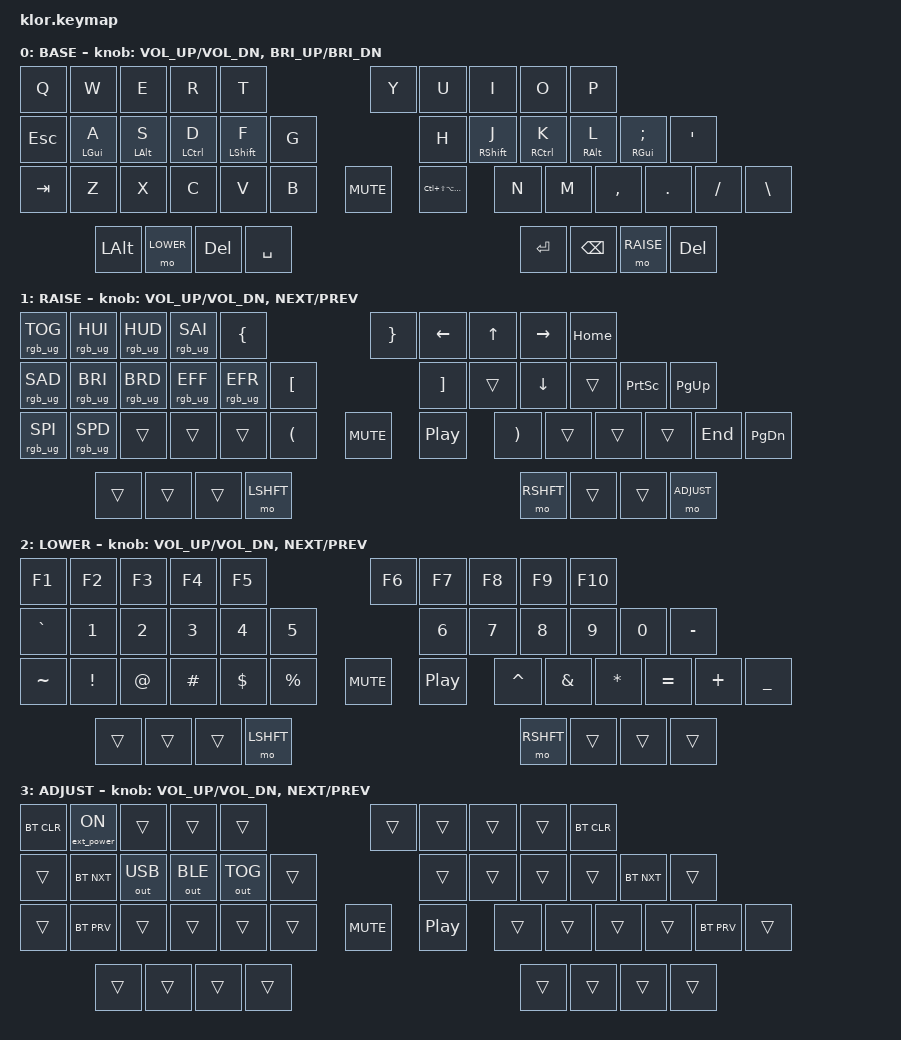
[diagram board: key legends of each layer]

//                               █         █    █            ▄▄▄▀▀▀▀▀▀▄▄▄        █▀▀▀▀▀▀▀▀▀▀█
//                               █        █     █          ▄▀            ▀▄      █          █
//                               █       █      █        ▄▀                ▀▄    █          █
//                               █      █       █        █                  █    █          █
//                               █     █        █       █                    █   █          █
//                               █    █         █       █                    █   █▄▄▄▄▄▄▄▄▄▄█
//                               █   █ █        █       █                    █   █      █
//                               █  █   █       █        █                  █    █       █
//                               █ █     █      █        ▀▄                ▄▀    █        █
//                               ██       █     █          ▀▄            ▄▀      █         █
//                               █         █    █▄▄▄▄▄▄▄▄    ▀▀▀▄▄▄▄▄▄▀▀▀        █          █
//
// ▄▄▄▄▄▄▄▄▄▄▄▄▄▄▄▄▄▄▄▄▄▄▄▄▄▄▄▄▄▄▄▄▄▄▄▄▄▄▄▄▄▄▄▄▄▄▄▄▄▄▄▄▄▄▄▄▄▄▄▄▄▄▄▄▄▄▄▄▄▄▄▄▄▄▄▄▄▄▄▄▄▄▄▄▄▄▄▄▄▄▄▄▄▄▄▄▄▄▄▄▄▄▄▄▄▄▄▄▄▄▄▄▄▄▄▄▄▄▄▄▄▄▄▄▄
       
#include <behaviors.dtsi>
#include <dt-bindings/zmk/keys.h>
#include <dt-bindings/zmk/bt.h>
#include <dt-bindings/zmk/outputs.h>
#include <dt-bindings/zmk/ext_power.h>
#include <dt-bindings/zmk/rgb.h>


#define BASE   0
#define RAISE  1
#define LOWER  2
#define ADJUST 3

// Microphone mute, sent as a hyper combo (Ctrl+Shift+Opt+Cmd+M) that
// nothing on macOS claims. ZMK cannot send a real mic mute: its HID
// report descriptor carries only the Keyboard, Consumer and Mouse pages,
// and "Phone Mute" lives on the Telephony page, which ZMK does not
// implement. C_MUTE is speaker mute, not microphone. macOS has no global
// mic-mute shortcut of its own either, so the Mac side has to listen for
// this combo - see the readme for the Shortcuts.app setup.
#define MIC_MUTE LC(LS(LA(LG(M))))

&sensors {
    left_encoder {
        triggers-per-rotation = <15>;
    };

    right_encoder {
        triggers-per-rotation = <15>;
    };
};

/ {
    behaviors {
        hm: homerow_mods {
            compatible = "zmk,behavior-hold-tap";
            label = "HOMEROW_MODS";
            #binding-cells = <2>;
            tapping-term-ms = <250>;
            quick_tap_ms = <0>;
            flavor = "tap-preferred";
            bindings = <&kp>, <&kp>;
        };

    };

     combos {
            compatible = "zmk,combos";
            combo_esc {
                timeout-ms = <50>;
                key-positions = <0 1>;
                bindings = <&kp ESC>;
            };
            combo_closetab {
                timeout-ms = <50>;
                key-positions = <1 2>;
                bindings = <&macro_closetab>;
            };
            combo_lasttab {
                timeout-ms = <50>;
                key-positions = <2 3>;
                bindings = <&macro_lasttab>;
            };
            combo_prtscr {
                timeout-ms = <50>;
                key-positions = <3 4>;
                bindings = <&kp PSCRN>;
            };
            combo_terminal {
                timeout-ms = <50>;
                key-positions = <1 3>;
                bindings = <&macro_terminal>;
            };
            // Hold Q + P together (position 0 = Q, position 9 = P) to
            // unlock ZMK Studio - required before Studio can push any
            // change to the keyboard. Deliberately a wide two-hand
            // chord so it won't trigger by accident while typing.
            combo_studio_unlock {
                timeout-ms = <100>;
                key-positions = <0 9>;
                bindings = <&studio_unlock>;
            };
     };

     macros {
            macro_closetab: macro_closetab {
                compatible = "zmk,behavior-macro";
                #binding-cells = <0>;
                bindings
                    = <&macro_press &kp LCTRL>
                    , <&macro_tap &kp F4>
                    , <&macro_release &kp LCTRL>
                    ;
            };
            macro_lasttab: macro_lasttab {
                compatible = "zmk,behavior-macro";
                #binding-cells = <0>;
                bindings
                    = <&macro_press &kp LCTRL>
                    , <&macro_tap &kp LS(T)>
                    , <&macro_release &kp LCTRL>
                    ;
            };
            macro_terminal: macro_terminal {
                compatible = "zmk,behavior-macro";
                #binding-cells = <0>;
                bindings
                    = <&macro_press &kp LCTRL>
                    , <&macro_tap &kp LA(T)>
                    , <&macro_release &kp LCTRL>
                    ;
            };
     };

     keymap {
            compatible = "zmk,keymap";
// ▄▄▄▄▄▄▄▄▄▄▄▄▄▄▄▄▄▄▄▄▄▄▄▄▄▄▄▄▄▄▄▄▄▄▄▄▄▄▄▄▄▄▄▄▄▄▄▄▄▄▄▄▄▄▄▄▄▄▄▄▄▄▄▄▄▄▄▄▄▄▄▄▄▄▄▄▄▄▄▄▄▄▄▄▄▄▄▄▄▄▄▄▄▄▄▄▄▄▄▄▄▄▄▄▄▄▄▄▄▄▄▄▄▄▄▄▄▄▄▄▄▄▄▄▄▄▄▄▄▄▄▄▄▄▄▄▄▄▄▄▄▄


                base_layer {
// ┌───────────────────────────────────────────────────────────┐
label= "BASE"                                                  ;
// └───────────────────────────────────────────────────────────┘
/*           ┌─────────┬─────────┬─────────┬─────────┬─────────┐                    ┌─────────┬─────────┬─────────┬─────────┬─────────┐
             │    Q    │    W    │    E    │    R    │    T    │                    │    Y    │    U    │    I    │    O    │    P    │   
   ┌─────────┼─────────┼─────────┼─────────┼─────────┼─────────┤                    ├─────────┼─────────┼─────────┼─────────┼─────────┼─────────┐
   │   TAB   │    A    │    S    │    D    │    F    │    G    │                    │    H    │    J    │    K    │    L    │    ;    │    '    │
   ├─────────┼─────────┼─────────┼─────────┼─────────┼─────────┤╭────────╮╭────────╮├─────────┼─────────┼─────────┼─────────┼─────────┼─────────┤
   │   CTRL  │    Z    │    X    │    C    │    V    │    B    ││  MUTE  ││MIC MUTE││    N    │    M    │    ,    │    .    │    /    │    \    │
   └─────────┴─────────┴─────────┼─────────┼─────────┼─────────┼╰────────╯╰────────╯┼─────────┼─────────┼─────────┼─────────┴─────────┴─────────┘
                                 │  LALT   │  LOWER  │  RALT   │  SPACE  ││  BSPCE  │  ENTER  │  RAISE  │    DEL  │  
                                 └─────────┴─────────┴─────────┴─────────┘└─────────┴─────────┴─────────┴─────────┘ */ 
 bindings = <
 //╷         ╷         ╷         ╷         ╷         ╷         ╷         ╷╷         ╷         ╷         ╷         ╷         ╷         ╷         ╷
              &kp Q     &kp W     &kp E     &kp R     &kp T                          &kp Y     &kp U     &kp I     &kp O     &kp P
    &kp ESC   &hm LGUI A  &hm LALT S  &hm LCTRL D  &hm LSHFT F &kp G                          &kp H   &hm RSHFT J &hm RCTRL K &hm RALT L  &hm RGUI SEMI &kp SQT
    &kp TAB     &kp Z     &kp X     &kp C     &kp V     &kp B     &kp C_MUTE     &kp MIC_MUTE &kp N     &kp M     &kp COMMA &kp DOT   &kp FSLH  &kp BSLH
                                  &kp LALT &mo LOWER &kp DEL  &kp SPACE   &kp RET   &kp BSPC  &mo RAISE &kp DEL
                        >;
            // Left encoder: volume. Right encoder: screen brightness. The index
            // here is the sensor's position in klor_common.dtsi's
            // sensors = <&left_encoder &right_encoder>, which is what each
            // half reports over the split link and what the dongle indexes
            // this list with - so entry 0 is always the left encoder and
            // entry 1 the right, regardless of which half sent it.
            sensor-bindings = <&inc_dec_kp C_VOL_UP C_VOL_DN &inc_dec_kp C_BRI_UP C_BRI_DN>;
                };

// ▄▄▄▄▄▄▄▄▄▄▄▄▄▄▄▄▄▄▄▄▄▄▄▄▄▄▄▄▄▄▄▄▄▄▄▄▄▄▄▄▄▄▄▄▄▄▄▄▄▄▄▄▄▄▄▄▄▄▄▄▄▄▄▄▄▄▄▄▄▄▄▄▄▄▄▄▄▄▄▄▄▄▄▄▄▄▄▄▄▄▄▄▄▄▄▄▄▄▄▄▄▄▄▄▄▄▄▄▄▄▄▄▄▄▄▄▄▄▄▄▄▄▄▄▄▄▄▄▄▄▄▄▄▄▄▄▄▄▄▄▄▄


                raise_layer {
// ┌───────────────────────────────────────────────────────────┐
label= "RAISE"                                                 ;
// └───────────────────────────────────────────────────────────┘
/*           ┌─────────┬─────────┬─────────┬─────────┬─────────┐                    ┌─────────┬─────────┬─────────┬─────────┬─────────┐
             │ RGB_SPI │ RGB_HUI │         │         │    {    │                    │    }    │   LEFT  │   UP    │  RIGHT  │   HOME  │
   ┌─────────┼─────────┼─────────┼─────────┼─────────┼─────────┤                    ├─────────┼─────────┼─────────┼─────────┼─────────┼─────────┐
   │ RGB_BRI │ RGB_EFF │         │         │         │    [    │                    │    ]    │         │  DOWN   │         │  PSCRN  │  P UP   │
   ├─────────┼─────────┼─────────┼─────────┼─────────┼─────────┤╭────────╮╭────────╮├─────────┼─────────┼─────────┼─────────┼─────────┼─────────┤
   │ RGB_BRD │ RGB_SPD │ RGB_HUD │         │         │    (    ││  MUTE  ││PLY/PASE││    )    │         │         │         │   END   │ P DOWN  │
   └─────────┴─────────┴─────────┼─────────┼─────────┼─────────┼╰────────╯╰────────╯┼─────────┼─────────┼─────────┼─────────┴─────────┴─────────┘
                                 │         │         │         │  LSHIFT ││  RSHIFT │         │         │  ADJUST │  
                                 └─────────┴─────────┴─────────┴─────────┘└─────────┴─────────┴─────────┴─────────┘ */ 
 bindings = <
 //╷         ╷         ╷         ╷         ╷         ╷         ╷         ╷╷         ╷         ╷         ╷         ╷         ╷         ╷         ╷
                    &rgb_ug RGB_TOG &rgb_ug RGB_HUI &rgb_ug RGB_HUD &rgb_ug RGB_SAI &kp LBRC                       &kp RBRC &kp LEFT &kp UP   &kp RIGHT &kp HOME
    &rgb_ug RGB_SAD &rgb_ug RGB_BRI &rgb_ug RGB_BRD &rgb_ug RGB_EFF &rgb_ug RGB_EFR &kp LBKT                       &kp RBKT &trans   &kp DOWN &trans    &kp PSCRN &kp PG_UP
    &rgb_ug RGB_SPI &rgb_ug RGB_SPD &trans          &trans          &trans          &kp LPAR &kp C_MUTE  &kp C_PP  &kp RPAR &trans   &trans   &trans    &kp END   &kp PG_DN
                                                    &trans    &trans &trans   &mo LSHFT   &mo RSHFT &trans   &trans   &mo ADJUST
                        >;
            sensor-bindings = <&inc_dec_kp C_VOL_UP C_VOL_DN &inc_dec_kp C_NEXT C_PREV>;
                };

// ▄▄▄▄▄▄▄▄▄▄▄▄▄▄▄▄▄▄▄▄▄▄▄▄▄▄▄▄▄▄▄▄▄▄▄▄▄▄▄▄▄▄▄▄▄▄▄▄▄▄▄▄▄▄▄▄▄▄▄▄▄▄▄▄▄▄▄▄▄▄▄▄▄▄▄▄▄▄▄▄▄▄▄▄▄▄▄▄▄▄▄▄▄▄▄▄▄▄▄▄▄▄▄▄▄▄▄▄▄▄▄▄▄▄▄▄▄▄▄▄▄▄▄▄▄


                lower_layer {
// ┌───────────────────────────────────────────────────────────┐
label= "LOWER"                                                 ;
// └───────────────────────────────────────────────────────────┘
/*           ┌─────────┬─────────┬─────────┬─────────┬─────────┐                    ┌─────────┬─────────┬─────────┬─────────┬─────────┐
             │   F1    │   F2    │   F3    │   F4    │   F5    │                    │   F6    │   F7    │   F8    │   F9    │   F10   │
   ┌─────────┼─────────┼─────────┼─────────┼─────────┼─────────┤                    ├─────────┼─────────┼─────────┼─────────┼─────────┼─────────┐
   │    -    │    !    │    @    │    #    │    $    │    %    │                    │    ^    │    &    │    `    │    ~    │    =    │    +    │
   ├─────────┼─────────┼─────────┼─────────┼─────────┼─────────┤╭────────╮╭────────╮├─────────┼─────────┼─────────┼─────────┼─────────┼─────────┤
   │    _    │    1    │    2    │    3    │    4    │    5    ││  MUTE  ││PLY/PASE││    6    │    7    │    8    │    9    │    0    │    *    │
   └─────────┴─────────┴─────────┼─────────┼─────────┼─────────┼╰────────╯╰────────╯┼─────────┼─────────┼─────────┼─────────┴─────────┴─────────┘
                                 │         │         │         │  LSHIFT ││  RSHIFT │         │         │         │  
                                 └─────────┴─────────┴─────────┴─────────┘└─────────┴─────────┴─────────┴─────────┘ */ 
 bindings = <
 //╷         ╷         ╷         ╷         ╷         ╷         ╷         ╷╷         ╷         ╷         ╷         ╷         ╷         ╷         ╷
              &kp F1    &kp F2   &kp F3      &kp F4   &kp F5                           &kp F6    &kp F7    &kp F8    &kp F9    &kp F10
    &kp GRAVE &kp N1    &kp N2   &kp N3      &kp N4   &kp N5                           &kp N6    &kp N7    &kp N8    &kp N9    &kp N0    &kp MINUS
    &kp TILDE &kp EXCL  &kp AT   &kp POUND   &kp DLLR &kp PRCNT  &kp C_MUTE  &kp C_PP  &kp CARET &kp AMPS  &kp ASTRK &kp EQUAL &kp PLUS  &kp UNDER
                                 &trans      &trans   &trans   &mo LSHFT     &mo RSHFT &trans   &trans     &trans
                        >;
                sensor-bindings = <&inc_dec_kp C_VOL_UP C_VOL_DN &inc_dec_kp C_NEXT C_PREV>;
                };

// ▄▄▄▄▄▄▄▄▄▄▄▄▄▄▄▄▄▄▄▄▄▄▄▄▄▄▄▄▄▄▄▄▄▄▄▄▄▄▄▄▄▄▄▄▄▄▄▄▄▄▄▄▄▄▄▄▄▄▄▄▄▄▄▄▄▄▄▄▄▄▄▄▄▄▄▄▄▄▄▄▄▄▄▄▄▄▄▄▄▄▄▄▄▄▄▄▄▄▄▄▄▄▄▄▄▄▄▄▄▄▄▄▄▄▄▄▄▄▄▄▄▄▄▄▄


                adjust_layer {
// ┌───────────────────────────────────────────────────────────┐
label= "ADJUST"                                                ;
// └───────────────────────────────────────────────────────────┘
/*           ┌─────────┬─────────┬─────────┬─────────┬─────────┐                    ┌─────────┬─────────┬─────────┬─────────┬─────────┐
             │ BT_CLR  │  EP_ON  │         │         │         │                    │         │         │         │         │ BT_CLR  │
   ┌─────────┼─────────┼─────────┼─────────┼─────────┼─────────┤                    ├─────────┼─────────┼─────────┼─────────┼─────────┼─────────┐
   │         │ BT_NXT  │ OUT_USB │ OUT_BLE │ OUT_TOG │         │                    │         │         │         │         │ BT_NXT  │         │
   ├─────────┼─────────┼─────────┼─────────┼─────────┼─────────┤╭────────╮╭────────╮├─────────┼─────────┼─────────┼─────────┼─────────┼─────────┤
   │         │ BT_PRV  │         │         │         │         ││  MUTE  ││PLY/PASE││         │         │         │         │ BT_PRV  │         │
   └─────────┴─────────┴─────────┼─────────┼─────────┼─────────┼╰────────╯╰────────╯┼─────────┼─────────┼─────────┼─────────┴─────────┴─────────┘
                                 │         │         │         │         ││         │         │         │         │  
                                 └─────────┴─────────┴─────────┴─────────┘└─────────┴─────────┴─────────┴─────────┘ */ 
 bindings = <
 //╷         ╷         ╷         ╷         ╷         ╷         ╷         ╷╷         ╷         ╷         ╷         ╷         ╷         ╷         ╷
             &bt BT_CLR &ext_power EP_ON &trans            &trans            &trans                         &trans    &trans    &trans    &trans    &bt BT_CLR
    &trans   &bt BT_NXT &out OUT_USB &out OUT_BLE &out OUT_TOG &trans                         &trans    &trans    &trans    &trans    &bt BT_NXT   &trans
    &trans   &bt BT_PRV &trans    &trans    &trans    &trans    &kp C_MUTE  &kp C_PP &trans    &trans    &trans    &trans    &bt BT_PRV   &trans
                                  &trans    &trans    &trans    &trans      &trans   &trans    &trans    &trans    
                        >;
            sensor-bindings = <&inc_dec_kp C_VOL_UP C_VOL_DN &inc_dec_kp C_NEXT C_PREV>;
                };
        };
};
